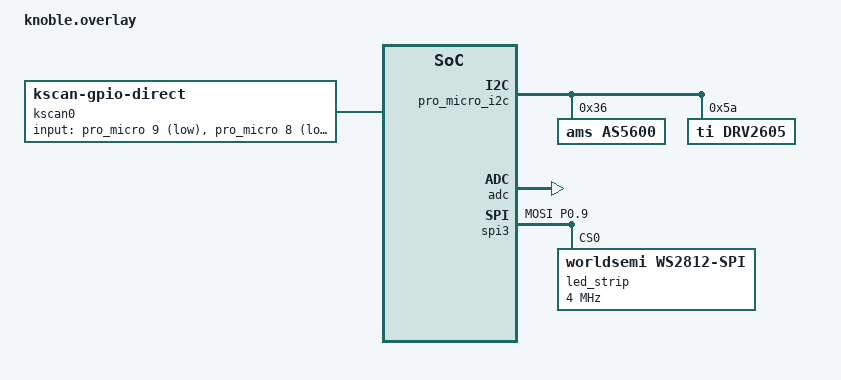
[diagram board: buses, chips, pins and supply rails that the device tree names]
/*
 * KnoBLE — wireless Knob v2.1 (nRF52840 SuperMini / nice!nano v2 compatible)
 *
 * Pin map — matches the Knob v2.1 PCB with a SuperMini dropped into the
 * Pro Micro footprint (AVR pin -> pro micro position -> nRF52840):
 *   I2C SDA/SCL (AS5600)   PD1/PD0  D2 / D3     P0.17 / P0.20
 *   Key prev (was B5)               D9          P1.06
 *   Key play/pause (was B4)         D8          P1.04
 *   Key next (was E6)               D7          P0.11
 *   WS2812 data (was B6)            D10         P0.09  (NFC pin — needs
 *                                   CONFIG_NFCT_PINS_AS_GPIOS=y, set in conf)
 *   DRV2605L                        same I2C bus, wire to D2/D3 + 3V3/GND
 *   Sliders (future PCB)            A1 A2 A3    P0.02=AIN0, P0.29=AIN5, P0.31=AIN7
 *                                   !! A0 (P1.15) is NOT ADC-capable.
 */

/* keys.h first: it also defines an RC() macro (right-ctrl modifier) that
 * would otherwise clobber matrix_transform.h's RC(row,col). */
#include <dt-bindings/zmk/keys.h>
#include <dt-bindings/zmk/matrix_transform.h>
#include <zephyr/dt-bindings/input/input-event-codes.h>
#include <dt-bindings/led/led.h>
#include <physical_layouts.dtsi>

/ {
    chosen {
        zmk,physical-layout = &knoble_layout;
        zmk,underglow = &led_strip;
    };

    kscan0: kscan0 {
        compatible = "zmk,kscan-gpio-direct";
        wakeup-source;
        input-gpios
            = <&pro_micro 9 (GPIO_ACTIVE_LOW | GPIO_PULL_UP)>
            , <&pro_micro 8 (GPIO_ACTIVE_LOW | GPIO_PULL_UP)>
            , <&pro_micro 7 (GPIO_ACTIVE_LOW | GPIO_PULL_UP)>
            ;
    };

    default_transform: matrix_transform {
        compatible = "zmk,matrix-transform";
        rows = <1>;
        columns = <3>;
        map = <RC(0,0) RC(0,1) RC(0,2)>;
    };

    knoble_layout: knoble_layout {
        compatible = "zmk,physical-layout";
        display-name = "KnoBLE";
        kscan = <&kscan0>;
        transform = <&default_transform>;
        keys /* w h x y rot rx ry */
            = <&key_physical_attrs 100 100   0 0 0 0 0>
            , <&key_physical_attrs 100 100 100 0 0 0 0>
            , <&key_physical_attrs 100 100 200 0 0 0 0>
            ;
    };

    /*
     * The knob engine: AS5600 angle -> virtual detents -> scroll/keycodes,
     * with a DRV2605 haptic pulse per detent. Profiles are selected by the
     * highest active layer; layers with no profile fall back to profile 0.
     */
    knob0: knob_engine {
        compatible = "baseline,knob-engine";
        sensor = <&as5600>;
        haptics = <&drv2605>;
        led-strip = <&led_strip>;   /* speed gauge; underglow is disabled */
        poll-hz = <250>;
        idle-poll-hz = <25>;
        /* Scroll goes out as +/-1 unit events, one per interval — hosts in
         * fixed-pixel mode (LinearMouse) only honor event sign, so rate IS
         * the speed. 5ms = up to 200 units/s; pair with LinearMouse "6px"
         * => ~1200px/s ceiling. */
        wheel-report-interval-ms = <5>;

        /* Slider 0: pot wiper on P0.31 (silkscreen 031) = AIN7.
         * !! Power the pot from the 3.3V VCC pin, NOT RAW — the nRF's analog
         * !! input absolute max is VDD+0.3V; a 5V wiper would damage it. */
        slider-channels = <7>;

        profile_scroll {
            layer = <0>;
            mode = "scroll";
            detents-per-rev = <16>;   /* haptic/texture grid */
            lines-per-rev = <96>;     /* output units per rev; with the 5ms
                                       * unit-event drip and LinearMouse 8px:
                                       * 1 rev = ~770px at x1, ceiling at
                                       * ~2 rps worth of events */
            haptic-effect = <1>;              /* TI lib 6: strong click 100% */
            input-code = <INPUT_REL_WHEEL>;
            /* slider sets scroll speed, bottom to top:
             * /5 /4 /3 /2, x1, x2 x3 x4 — linear travel. Output is strictly
             * proportional to rotation; disable macOS's per-device scroll
             * acceleration (LinearMouse) instead of masking it here. */
            slider-role = "wheel-scale";
            slider-index = <0>;
            wheel-scale-max = <4>;
            wheel-scale-min-div = <5>;
            slider-curve-power = <1>;
        };

        profile_volume {
            layer = <1>;
            mode = "keycode";
            detents-per-rev = <48>;
            haptic-effect = <26>;             /* TI lib 6: sharp tick */
            cw-code = <C_VOL_UP>;
            ccw-code = <C_VOL_DN>;
            /* Slider 1 as its own control (e.g. timeline zoom -> horizontal wheel):
            slider-role = "own-control";
            slider-index = <1>;
            slider-input-code = <INPUT_REL_HWHEEL>;
            slider-steps = <32>;
            slider-effect = <21>;
            */
        };

        /* Example bounded profile — knob sweeps a 0..100 value with a hard
         * end-stop buzz at the limits (add a layer 2 to use it):
        profile_zoom {
            layer = <2>;
            mode = "bounded";
            detents-per-rev = <36>;
            haptic-effect = <7>;
            input-code = <INPUT_REL_HWHEEL>;
            range-min = <0>;
            range-max = <100>;
            endstop-effect = <14>;
        };
        */
    };

    /* Routes the knob engine's input events into ZMK's HID pipeline.
     * Without this listener the events go nowhere. */
    knob0_listener {
        compatible = "zmk,input-listener";
        device = <&knob0>;
    };

    /* Haptic feedback on key presses (zmk-output-behavior-listener). */
    lra0: output_haptic_fb_0 {
        compatible = "zmk,output-haptic-feedback";
        #binding-cells = <0>;
        driver = "drv2605";
        device = <&drv2605>;
    };

    obl_keys {
        compatible = "zmk,output-behavior-listener";
        layers = <0 1>;
        sources = <2>;  /* OUTPUT_SOURCE_POSITION_STATE_CHANGE */
        bindings = <&ob_key_click>;
    };

    ob_key_click: ob_key_click {
        compatible = "zmk,output-behavior-generic";
        #binding-cells = <0>;
        device = <&lra0>;
        force = <7>;                          /* TI lib 6: soft bump 100% */
    };
};

/* The nRF needs I2C pull-ups it can't inherit from the board def; the AVR
 * used its internal pull-ups, and the v2.1 PCB has no discrete ones. The
 * nRF52840's internal ~13k pulls are fine at 100 kHz. */
&i2c0_default {
    group1 {
        bias-pull-up;
    };
};

&pro_micro_i2c {
    status = "okay";

    as5600: as5600@36 {
        compatible = "ams,as5600";
        reg = <0x36>;
    };

    drv2605: drv2605@5a {
        compatible = "ti,drv2605";
        reg = <0x5a>;
        library = <6>;                        /* LRA waveform library */
        standby-ms = <1000>;
    };
};

&adc {
    status = "okay";
};

/* 3x WS2812 on D10 (P0.09, the v2.1's B6 position) via SPI3 MOSI.
 * P0.09 is an NFC pin: CONFIG_NFCT_PINS_AS_GPIOS=y (in knoble.conf)
 * reconfigures it as a regular GPIO. */
&pinctrl {
    spi3_default: spi3_default {
        group1 {
            psels = <NRF_PSEL(SPIM_MOSI, 0, 9)>;
        };
    };

    spi3_sleep: spi3_sleep {
        group1 {
            psels = <NRF_PSEL(SPIM_MOSI, 0, 9)>;
            low-power-enable;
        };
    };
};

&spi3 {
    compatible = "nordic,nrf-spim";
    status = "okay";
    pinctrl-0 = <&spi3_default>;
    pinctrl-1 = <&spi3_sleep>;
    pinctrl-names = "default", "sleep";

    led_strip: ws2812@0 {
        compatible = "worldsemi,ws2812-spi";
        reg = <0>;
        spi-max-frequency = <4000000>;
        chain-length = <3>;
        spi-one-frame = <0x70>;
        spi-zero-frame = <0x40>;
        color-mapping = <LED_COLOR_ID_GREEN LED_COLOR_ID_RED LED_COLOR_ID_BLUE>;
    };
};
